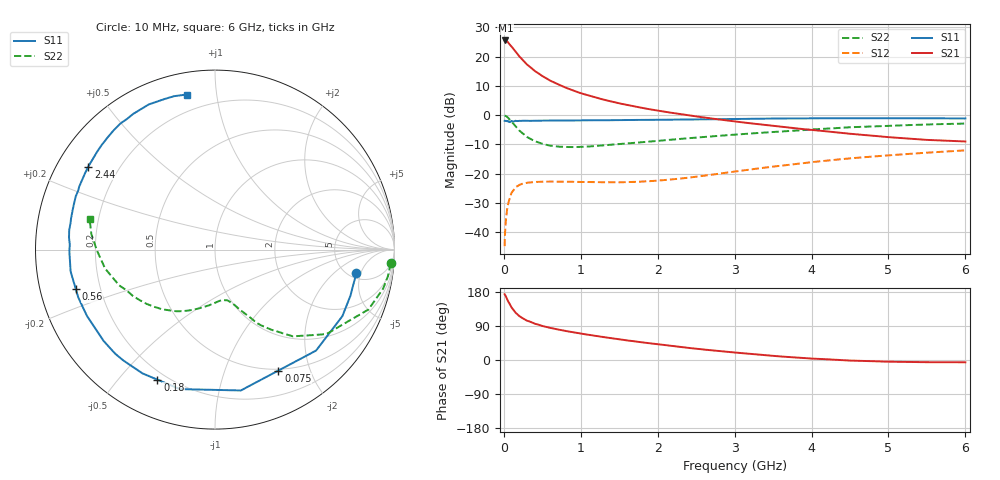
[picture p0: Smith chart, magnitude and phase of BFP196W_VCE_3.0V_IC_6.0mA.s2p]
! Infineon Technologies  Discrete & RF Semiconductors
! BFP196W
! VCE = 3.0 V,  IC = 6.0mA
! Common Emitter S-Parameters:  Jan 2016
# GHz  S  MA  R  50
!  f  S11  S21  S12  S22
! GHz  MAG  ANG  MAG  ANG  MAG  ANG  MAG  ANG
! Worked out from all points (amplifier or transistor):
!   210 points, 10 MHz to 6 GHz, reference 50 ohm
!   highest |S21| = 25.5 dB at 20 MHz (marker M1)
!   |S21| within 3 dB of that: start of sweep to 128.7 MHz
!   unconditionally stable (mu >= 1): 1.374 GHz to 3.307 GHz
!   at 185 MHz: K = 0.16, MSG = 22.4 dB, |S12| = -24.1 dB
!   at 1.52 GHz: K = 1.09, MAG = 11.6 dB, |S12| = -22.9 dB
!   at 6 GHz: K = 0.97, MSG = 1.5 dB, |S12| = -12.0 dB
!   S11 on the Smith chart (normalised r, x): 10 MHz: 5.93, -4.18; 75 MHz: 0.48, -1.55; 180 MHz: 0.16, -0.64; 560 MHz: 0.11, -0.14; 2.44 GHz: 0.09, +0.30; 6 GHz: 0.11, +0.83
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0.01  0.7986 -9.2  18.59 173.6  0.0058 83.9  0.9825 -4.5
0.02  0.7971 -18.8  18.83 170.4  0.0124 81.2  0.9745 -8.9
0.03  0.8008 -27.6  18.52 165.9  0.0181 77.5  0.9615 -13.1
0.05  0.7959 -45.0  17.77 156.6  0.0285 68.2  0.9179 -21.3
0.075  0.7608 -62.3  16.14 148.3  0.0375 57.9  0.8403 -28.6
0.1  0.7979 -79.6  14.91 138.4  0.0472 51.7  0.7788 -37.2
0.15  0.8015 -104.1  12.31 125.0  0.0586 40.6  0.6506 -48.0
0.18  0.7925 -113.9  10.96 120.0  0.0618 36.1  0.5883 -51.7
0.2  0.7994 -120.4  10.12 115.9  0.0642 33.4  0.5484 -54.7
0.24  0.8016 -129.8  8.879 110.7  0.0674 29.1  0.4939 -58.7
0.3  0.8026 -140.7  7.331 103.9  0.0702 24.6  0.4243 -62.7
0.4  0.8034 -152.7  5.703 95.9  0.0722 20.2  0.3599 -67.7
0.56  0.8063 -164.3  4.195 87.0  0.0734 17.0  0.31 -72.8
0.8  0.8102 -175.6  2.954 76.7  0.073 16.0  0.2863 -79.5
1.02  0.8108 177.5  2.326 69.1  0.0723 17.0  0.2877 -85.6
1.46  0.8212 166.5  1.636 55.8  0.0715 22.9  0.3162 -97.9
2.02  0.8343 154.6  1.184 41.2  0.0767 34.3  0.3655 -112.2
2.44  0.8439 146.8  0.977 31.1  0.0869 41.6  0.4078 -122.8
3.1  0.8623 135.2  0.754 18.0  0.1133 47.6  0.4749 -139.1
4.1  0.8832 119.8  0.544 2.9  0.1626 46.0  0.5783 -161.8
5.1  0.8848 108.3  0.412 -4.7  0.2105 38.7  0.6647 178.7
6  0.8784 100.4  0.355 -6.0  0.2505 31.6  0.7184 166.4
